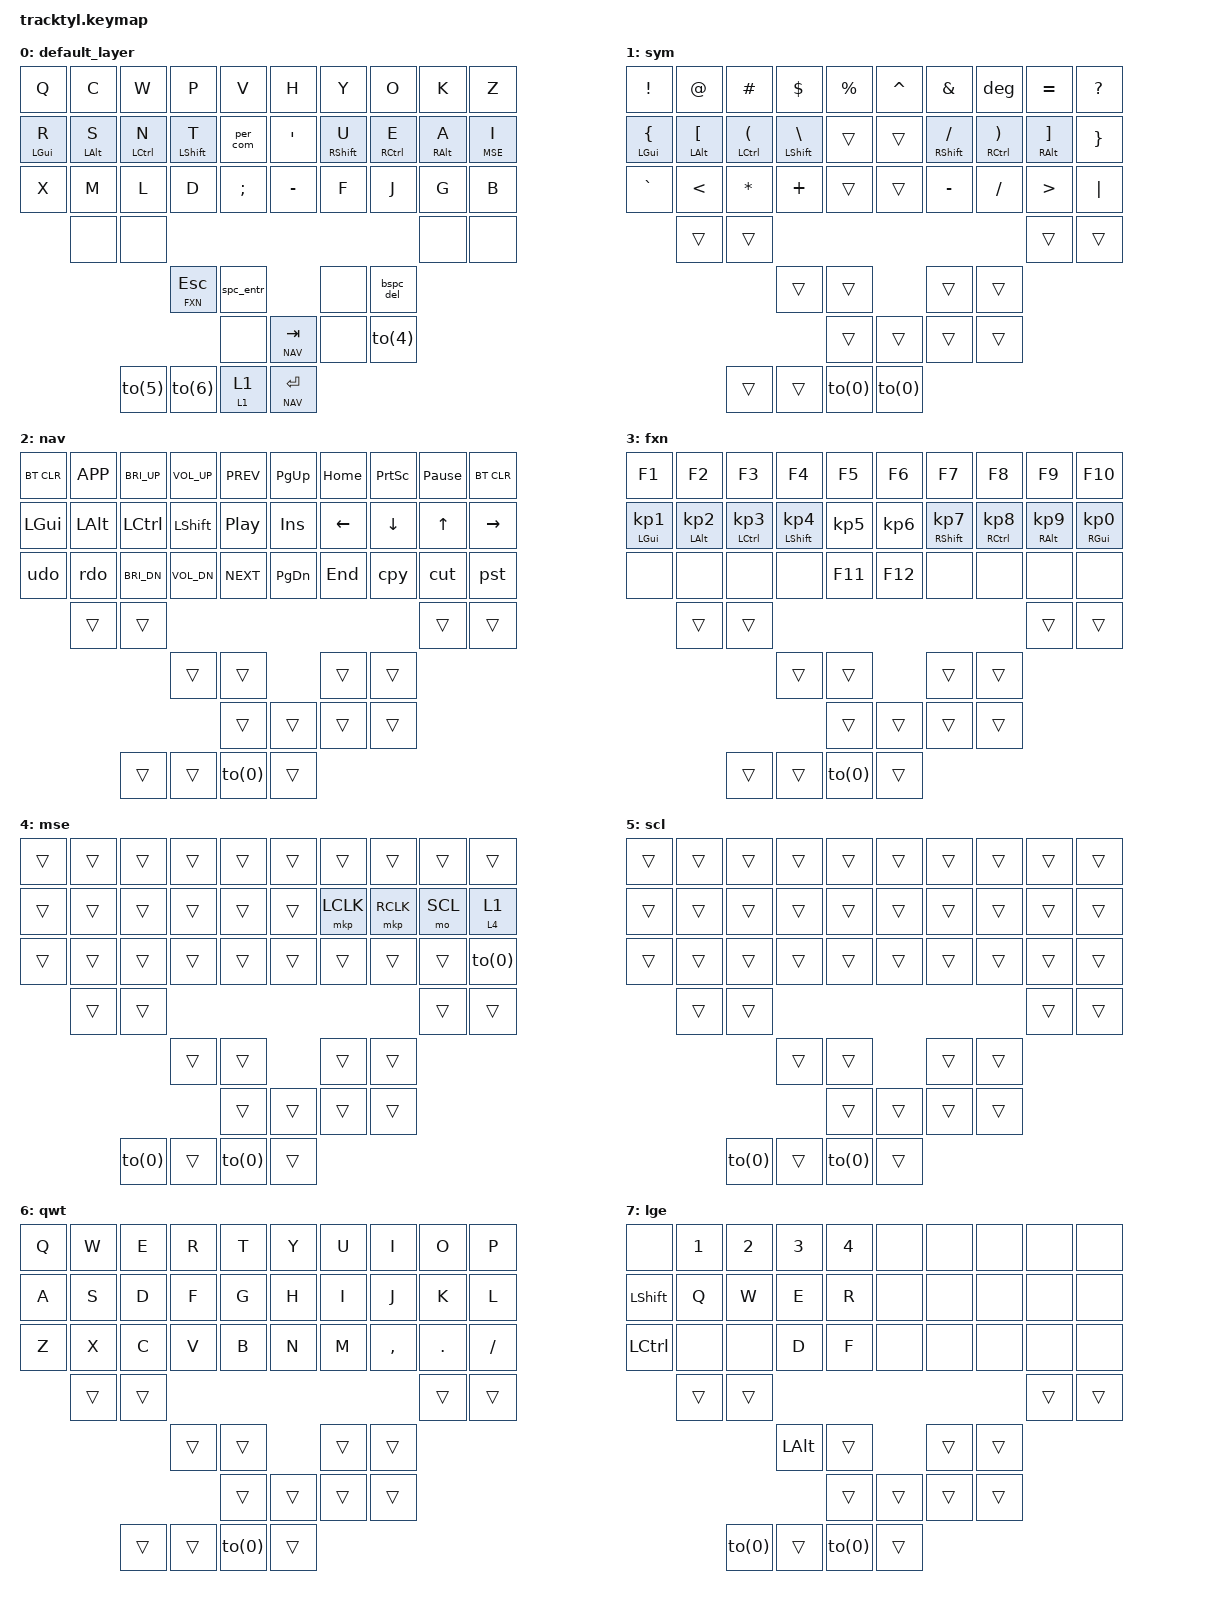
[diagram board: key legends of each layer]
#include <behaviors.dtsi>
#include <dt-bindings/zmk/keys.h>
#include <dt-bindings/zmk/bt.h>
#include <dt-bindings/zmk/outputs.h>
#include <dt-bindings/zmk/mouse.h>

#define DEFAULT 0
#define SYM   	1
#define NAV   	2
#define FXN	3
#define MSE 	4
#define SCL 	5
#define QWT	6
#define LGE	7
// Would love to have a greek layer :(

/ {
	macros {
		deg: deg {
			label = "deg";
			compatible = "zmk,behavior-macro";
			#binding-cells = <0>;
			bindings
				= <&macro_release &kp LSHFT>
				, <&macro_press   &kp LALT>
				, <&macro_tap     &kp KP_N0 &kp KP_N1 &kp KP_N7 &kp KP_N6>
				, <&macro_release &kp LALT>
				;
		};
		cut: cut {
			label = "cut";
			compatible = "zmk,behavior-macro";
			#binding-cells = <0>;
			bindings
				= <&macro_press   &kp LCTRL>
				, <&macro_tap     &kp X>
				, <&macro_release &kp LCTRL>
				;
		};
		cpy: cpy {
			label = "cpy";
			compatible = "zmk,behavior-macro";
			#binding-cells = <0>;
			bindings
				= <&macro_press   &kp LCTRL>
				, <&macro_tap     &kp C>
				, <&macro_release &kp LCTRL>
				;
		};
		pst: pst {
			label = "pst";
			compatible = "zmk,behavior-macro";
			#binding-cells = <0>;
			bindings
				= <&macro_press   &kp LCTRL>
				, <&macro_tap     &kp V>
				, <&macro_release &kp LCTRL>
				;
		};
		udo: udo {
			label = "udo";
			compatible = "zmk,behavior-macro";
			#binding-cells = <0>;
			bindings
				= <&macro_press   &kp LCTRL>
				, <&macro_tap     &kp Z>
				, <&macro_release &kp LCTRL>
				;
		};
		rdo: rdo {
			label = "rdo";
			compatible = "zmk,behavior-macro";
			#binding-cells = <0>;
			bindings
				= <&macro_press   &kp LCTRL>
				, <&macro_tap     &kp Y>
				, <&macro_release &kp LCTRL>
				;
		};
		th: th {
			label = "th";
			compatible = "zmk,behavior-macro";
			#binding-cells = <0>;
			bindings
				= <&macro_tap     &kp T>
				, <&macro_release &kp RSHFT>
				, <&macro_tap     &kp H>
				;
		};
		wh: wh {
			label = "wh";
			compatible = "zmk,behavior-macro";
			#binding-cells = <0>;
			bindings
				= <&macro_tap     &kp W>
				, <&macro_release &kp RSHFT>
				, <&macro_tap     &kp H>
				;
		};
		ch: ch {
			label = "ch";
			compatible = "zmk,behavior-macro";
			#binding-cells = <0>;
			bindings
				= <&macro_tap     &kp C>
				, <&macro_release &kp RSHFT>
				, <&macro_tap     &kp H>
				;
		};
		sh: sh {
			label = "sh";
			compatible = "zmk,behavior-macro";
			#binding-cells = <0>;
			bindings
				= <&macro_tap     &kp S>
				, <&macro_release &kp RSHFT>
				, <&macro_tap     &kp H>
				;
		};
		ph: ph {
			label = "ph";
			compatible = "zmk,behavior-macro";
			#binding-cells = <0>;
			bindings
				= <&macro_tap     &kp P>
				, <&macro_release &kp RSHFT>
				, <&macro_tap     &kp H>
				;
		};
		gh: gh {
			label = "gh";
			compatible = "zmk,behavior-macro";
			#binding-cells = <0>;
			bindings
				= <&macro_tap     &kp G>
				, <&macro_release &kp LSHFT>
				, <&macro_tap     &kp H>
				;
		};
		qu: qu {
			label = "qu";
			compatible = "zmk,behavior-macro";
			#binding-cells = <0>;
			bindings
				= <&macro_tap     &kp Q>
				, <&macro_release &kp LSHFT>
				, <&macro_tap     &kp U>
				;
		};
		ing: ing {
			label = "ing";
			compatible = "zmk,behavior-macro";
			#binding-cells = <0>;
			bindings
				= <&macro_tap     &kp I &kp N &kp G>
				;
		};
	};
	combos {
		compatible = "zmk,combos";
		combo_ch {
			timeout-ms = <30>;
			key-positions = <1 12>;
			bindings = <&ch>;
			};
		combo_wh {
			timeout-ms = <30>;
			key-positions = <2 13>;
			bindings = <&wh>;
			};
		combo_ph {
			timeout-ms = <30>;
			key-positions = <3 12>;
			bindings = <&ph>;
			};
		combo_sh {
			timeout-ms = <30>;
			key-positions = <11 12>;
			bindings = <&sh>;
			};
		combo_th {
			timeout-ms = <30>;
			key-positions = <12 13>;
			bindings = <&th>;
			};
		combo_gh {
			timeout-ms = <30>;
			key-positions = <17 28>;
			bindings = <&gh>;
			};
		combo_qu {
			timeout-ms = <30>;
			key-positions = <16 17>;
			bindings = <&qu>;
			};
		combo_ing {
			timeout-ms = <30>;
			key-positions = <18 19>;
			bindings = <&ing>;
			};
	};
	behaviors {
		mo_tog: behavior_mo_tog {
			compatible = "zmk,behavior-hold-tap";
			label = "mo_tog";
			#binding-cells = <2>;
			flavor = "hold-preferred";
			tapping-term-ms = <200>;
			bindings = <&mo>, <&tog>;
		};
		mo_to: behavior_mo_to {
			compatible = "zmk,behavior-hold-tap";
			label = "mo_to";
			#binding-cells = <2>;
			flavor = "hold-preferred";
			tapping-term-ms = <200>;
			bindings = <&mo>, <&to>;
		};
		per_com: per_com {								// . ,
			compatible = "zmk,behavior-mod-morph";
			label = "per_com";
			#binding-cells = <0>;
			bindings = <&kp PERIOD>, <&kp COMMA>;
			mods = <(MOD_LSFT|MOD_RSFT)>;
		};	
		spc_entr: spc_entr {							// SPACE ENTER
			compatible = "zmk,behavior-mod-morph";
			label = "spc_entr";
			#binding-cells = <0>;
			bindings = <&kp SPACE>, <&kp ENTER>;
			mods = <(MOD_LSFT|MOD_RSFT)>;
		};
		bspc_del: bspc_del {							// BSPC DEL
			compatible = "zmk,behavior-mod-morph";
			label = "bspc_del";
			#binding-cells = <0>;
			bindings = <&kp BSPC>, <&kp DEL>;
			mods = <(MOD_LSFT|MOD_RSFT)>;
		};
		R3C1: R3C1 {								// I want this to be bspc, del, or layer
			compatible = "zmk,behavior-hold-tap";
		    	label = "R3C1";
		    	#binding-cells = <2>;
		    	bindings = <&mo>, <&spc_entr>;
		    	tapping-term-ms = <200>;
		};
		R3C5: R3C5 {								// I want this to be bspc, del, or layer
			compatible = "zmk,behavior-hold-tap";
		    	label = "R3C5";
		    	#binding-cells = <2>;
		    	bindings = <&mo>, <&bspc_del>;
		    	tapping-term-ms = <200>;
		};
		hm: balanced_homerow_mods {
			compatible = "zmk,behavior-hold-tap";
			label = "HOMEROW_MODS";
			#binding-cells = <2>;
			tapping-term-ms = <200>;    // <---[[moderate duration, was 200]]
			quick-tap-ms = <50>;
			flavor = "balanced";
			bindings = <&kp>, <&kp>;
		};
		td_mse: tap_dance_mouse {
		    compatible = "zmk,behavior-tap-dance";
		    label = "TAP_DANCE_MOD_TAP";
		    #binding-cells = <0>;
		    tapping-term-ms = <200>;
		    bindings = <&lt MSE I>, <&to(4)>;
		};
	};

	keymap {
		compatible = "zmk,keymap";

        default_layer {
// -------------------------------------------------------------------------------------------------------------------------
// |    Q    |    C    |    W    |    P    |    V    |                   |    H    |    Y    |    O    |    K    |    Z    |
// |    R    |    S    |    N    |    T    |    .    |                   |    '    |    U    |    E    |    A    |    I    |
// |    X    |    M    |    L    |    D    |    ;    |                   |    -    |    F    |    J    |    G    |    B    |
//           |         |         |                                                           |         |         |
//                               |   ESC   |  SPACE  |                   |    x    |  ENTER  |
//                                         |         |  LSHFT  |    x    |  BSPC   |
//                                         |         |         |         |  layer  |
            bindings = <
&kp Q		&kp C		&kp W		&kp P		&kp V			&kp H		&kp Y		&kp O		&kp K		&kp Z
&hm LGUI R	&hm LALT S	&hm LCTRL N	&hm LSHFT T	&per_com		&kp APOS	&hm RSHFT U	&hm RCTRL E	&hm RALT A	&lt MSE I
&kp X		&kp M		&kp L		&kp D		&kp SEMI		&kp MINUS	&kp F		&kp J		&kp G		&kp B
		&none		&none                                                                  			&none		&none
                               	&lt FXN ESC	&spc_entr						&none		&bspc_del
                                           	&none		&lt NAV TAB		&none		&to(4)
						&to(5)		&to(6)			&mo_tog 1 1	&lt NAV ENTER    
            >;
        };

	// Symbolic layer
        sym {
			bindings = <
&kp EXCL	&kp AT		&kp HASH	&kp DLLR	&kp PRCNT		&kp CARET	&kp AMPS	&deg     	&kp EQUAL     	&kp QMARK
&hm LGUI LBRC 	&hm LALT LBKT	&hm LCTRL LPAR	&hm LSHFT BSLH	&trans			&trans		&hm RSHFT FSLH	&hm RCTRL RPAR	&hm RALT RBKT	&kp RBRC
&kp GRAVE 	&kp LT		&kp ASTRK	&kp PLUS	&trans			&trans 		&kp MINUS	&kp FSLH	&kp GT		&kp PIPE
		&trans		&trans											&trans  	&trans
				&trans    	&trans							&trans		&trans
						&trans		&trans			&trans		&trans
						&trans		&trans			&to(0)		&to(0)
            >;
        };

	// Navigation layer
        nav {
            bindings = <
&bt BT_CLR	&kp K_APP	&kp C_BRI_UP	&kp C_VOL_UP	&kp C_PREV              &kp PG_UP	&kp HOME	&kp PSCRN 	&kp PAUSE_BREAK	&bt BT_CLR
&kp LGUI	&kp LALT	&kp LCTRL	&kp LSHFT	&kp C_PP                &kp INS		&kp LEFT	&kp DOWN  	&kp UP		&kp RIGHT  
&udo		&rdo		&kp C_BRI_DN	&kp C_VOL_DN	&kp C_NEXT              &kp PG_DN	&kp END		&cpy		&cut		&pst
		&trans		&trans											&trans		&trans
				&trans		&trans							&trans		&trans
						&trans		&trans			&trans		&trans
						&trans		&trans			&to(0)		&trans
            >;
        };
		
	// Funco-numeric key layer
		fxn {
            bindings = <
&kp F1		&kp F2		&kp F3    	&kp F4		&kp F5        		&kp F6    	&kp F7		&kp F8    	&kp F9		&kp F10 
&hm LGUI KP_N1 	&hm LALT KP_N2	&hm LCTRL KP_N3	&hm LSHFT KP_N4 &kp KP_N5 		&kp KP_N6 	&hm RSHFT KP_N7 &hm RCTRL KP_N8 &hm RALT KP_N9 	&hm RGUI KP_N0
&none     	&none  		&none 	  	&none 		&kp F11         	&kp F12 	&none		&none		&none		&none    
              	&trans    	&trans                                                                			&trans		&trans
                                &trans		&trans                        				&trans    	&trans
                                            	&trans 	 	&trans   		&trans    	&trans
                                            	&trans   	&trans     		&to(0)    	&trans
            >;
        };
	
	// mouse layer
		mse {
            bindings = <
&trans		&trans		&trans		&trans		&trans			&trans 		&trans		&trans		&trans		&trans
&trans		&trans		&trans		&trans		&trans			&trans 		&mkp LCLK 	&mkp RCLK 	&mo SCL		&mo_to 4 1
&trans 		&trans		&trans		&trans		&trans			&trans 		&trans		&trans		&trans		&to(0)
		&trans		&trans											&trans		&trans
				&trans		&trans							&trans		&trans
                                            	&trans 	 	&trans			&trans		&trans
                                            	&to(0)   	&trans			&to(0)		&trans
            >;
        };
		
		
	// scroll layer
		scl {
            bindings = <
&trans		&trans		&trans		&trans		&trans			&trans 		&trans		&trans		&trans		&trans
&trans		&trans		&trans		&trans		&trans			&trans 		&trans 		&trans 		&trans		&trans
&trans 		&trans		&trans		&trans		&trans			&trans 		&trans		&trans		&trans		&trans
		&trans		&trans											&trans		&trans
				&trans		&trans							&trans		&trans
                                            	&trans 	 	&trans			&trans		&trans
                                            	&to(0)   	&trans			&to(0)		&trans
            >;
        };
		
	// QWERTY layer for plebs
		qwt {
            bindings = <
    &kp Q     &kp W    &kp E     &kp R     &kp T                      	  &kp Y     &kp U     &kp I     &kp O     &kp P
	&kp A     &kp S    &kp D     &kp F     &kp G                       	  &kp H     &kp I     &kp J     &kp K     &kp L
    &kp Z     &kp X    &kp C     &kp V     &kp B                       	  &kp N     &kp M     &kp COMMA &kp PERIOD &kp FSLH
              &trans    &trans                                                                &trans    &trans
                                  &trans    &trans                        &trans    &trans
                                            &trans 	 &trans   	&trans    &trans
                                            &trans   &trans     &to(0)    &trans
            >;
        };
		
	// League of Legends layer
		lge {
            bindings = <
    &none     &kp N1   &kp N2    &kp N3    &kp N4                      	  &none		&none	  &none	    &none	  &none
	&kp LSHFT &kp Q    &kp W     &kp E     &kp R                      	  &none		&none	  &none	    &none	  &none
    &kp LCTRL &none    &none     &kp D     &kp F                      	  &none		&none	  &none	    &none	  &none
              &trans   &trans                                                                 &trans    &trans
                                  &kp LALT  &trans                        &trans    &trans
                                            &trans 	 &trans   	&trans    &trans
                                            &to(0)   &trans     &to(0)    &trans
            >;
        };
    };
};

/*
	// trans layer
		trans {
            bindings = <
&trans		&trans		&trans		&trans		&trans			&none		&none		&none		&none		&none
&trans		&trans		&trans		&trans		&trans			&none		&none		&none		&none		&none
&trans 		&trans		&trans		&trans		&trans			&none		&none		&none		&none		&none
		&trans		&trans											&trans		&trans
				&trans		&trans							&trans		&trans
                                            	&trans 	 	&trans			&trans		&trans
                                            	&to(0)   	&trans			&to(0)		&trans
            >;
        };
*/
